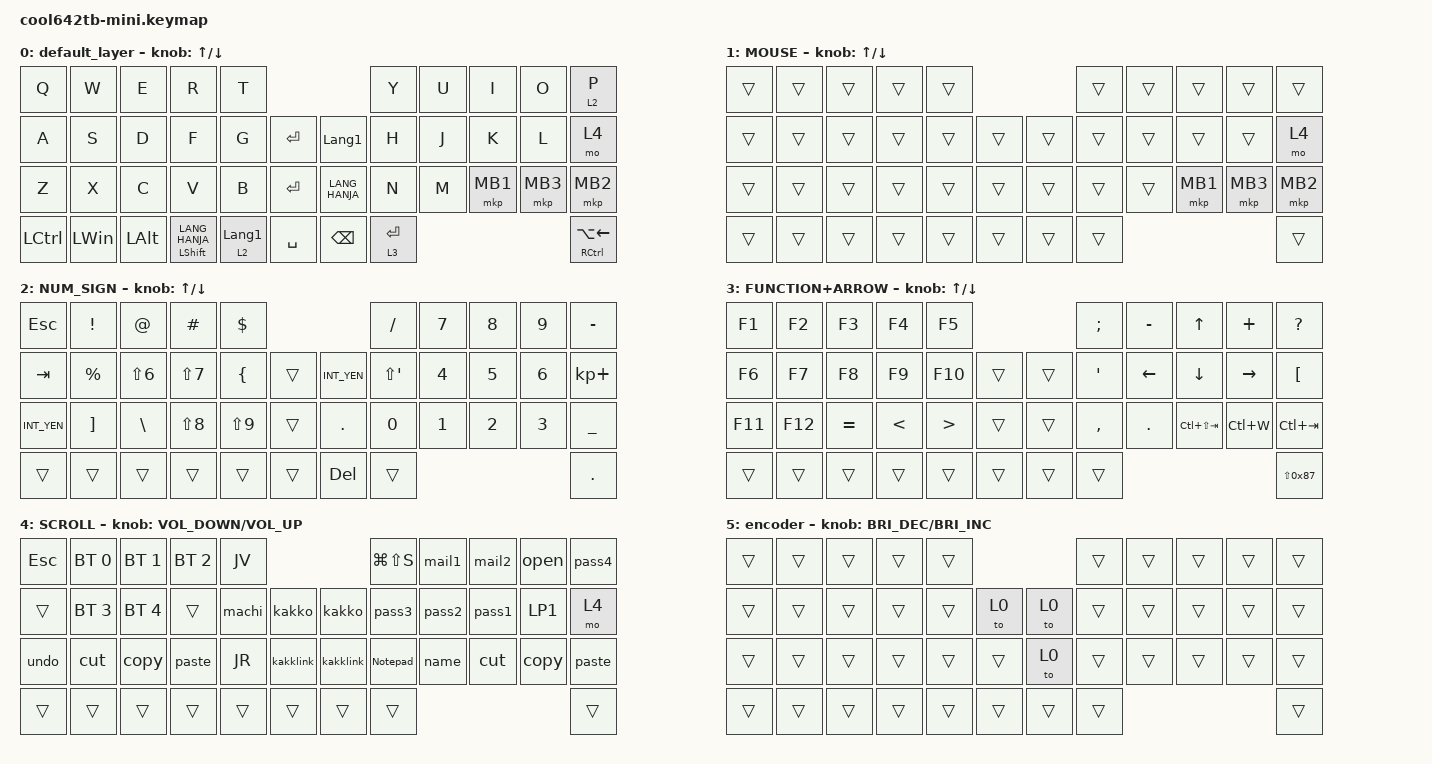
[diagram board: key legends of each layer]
#include <behaviors.dtsi>
#include <dt-bindings/zmk/bt.h>
#include <dt-bindings/zmk/keys.h>
#include <dt-bindings/zmk/pointing.h>

#define MOUSE 1
#define NUM 2
#define SCROLL 4
#define JP_DQUOTE       AT                // "
#define JP_AMPERSAND    CARET             // &
#define JP_QUOTE        AMPERSAND         // '
#define JP_EQUAL        UNDER             // =
#define JP_CARET        EQUAL             // ^
#define JP_YEN          0x89              // ¥
#define JP_PLUS         COLON             // +
#define JP_TILDE        PLUS              // ~
#define JP_PIPE         LS(0x89)          // |
#define JP_AT           LEFT_BRACKET      // @
#define JP_COLON        SINGLE_QUOTE      // :
#define JP_ASTERISK     DOUBLE_QUOTES     // *
#define JP_BACKQUOTE    LEFT_BRACE        // `
#define JP_UNDERSCORE   LS(0x87)          // _
#define JP_LBRACKET     RIGHT_BRACKET     // [
#define JP_RBRACKET     BACKSLASH         // ]
#define JP_LPAREN       ASTERISK          // (
#define JP_RPAREN       LEFT_PARENTHESIS  // )
#define JP_LBRACE       RIGHT_BRACE       // {
#define JP_RBRACE       PIPE              // }
#define JP_KANA         LANGUAGE_1        // かな
#define JP_EISU         LANGUAGE_2        // 英数
#define JP_HANZEN       GRAVE             // 半角/全角

&mt {
    flavor = "balanced";
    quick-tap-ms = <0>;
};

/ {
    combos {
        compatible = "zmk,combos";

        comb1tab {
            bindings = <&kp TAB>;
            key-positions = <11 10>;
        };

        comb2esc {
            bindings = <&kp LS(ESCAPE)>;
            key-positions = <0 1>;
        };

        comb3shift {
            bindings = <&kt LEFT_SHIFT>;
            key-positions = <22 23>;
        };

        combo4bksp {
            bindings = <&kp DELETE>;
            key-positions = <9 8>;
        };

        combo5enter {
            bindings = <&kp ENTER>;
            key-positions = <20 21>;
        };

        combo6shift {
            bindings = <&sk RIGHT_SHIFT>;
            key-positions = <32 33>;
        };

        combo7lay4 {
            bindings = <&sl 4>;
            key-positions = <40 41>;
        };

        combo8task {
            bindings = <&kp LS(LC(ESCAPE))>;
            key-positions = <0 1 34>;
        };

        combo9lay4 {
            bindings = <&sl 4>;
            key-positions = <39 38>;
        };

        taskmana {
            bindings = <&kp LS(LC(ESC))>;
            key-positions = <0 34 35>;
        };

        enc {
            bindings = <&kp BACKSPACE>;
            key-positions = <39 27>;
        };

        shiftctrl {
            bindings = <&sk LS(LEFT_CONTROL)>;
            key-positions = <34 35>;
        };

        prev {
            bindings = <&mkp MB4>;
            key-positions = <42 33>;
        };

        encoder {
            bindings = <&to 5>;
            key-positions = <28 16>;
        };

        new {
            bindings = <&kp LS(LC(N))>;
            key-positions = <30 29>;
        };
    };

    macros {
        to_layer_0: to_layer_0 {
            compatible = "zmk,behavior-macro-one-param";
            #binding-cells = <1>;
            bindings = <&to 0 &macro_param_1to1 &kp MACRO_PLACEHOLDER>;
            label = "TO_LAYER_0";
        };

        pass1: pass1 {
            compatible = "zmk,behavior-macro";
            #binding-cells = <0>;
            bindings =
                <&kp LANG_HANJA>,
                <&macro_wait_time 2>,
                <&kp LS(K) &kp O &kp B &kp A &kp T &kp A &kp K &kp U &kp N8 &kp N3 &kp ENTER>;

            label = "PASS1";
        };

        pass2: pass2 {
            compatible = "zmk,behavior-macro";
            #binding-cells = <0>;
            bindings =
                <&kp LANG_HANJA>,
                <&macro_wait_time 2>,
                <&kp J &kp R &kp E &kp D &kp N2 &kp N0 &kp N2 &kp N5 &kp ENTER>;

            label = "PASS2";
        };

        pass3: pass3 {
            compatible = "zmk,behavior-macro";
            #binding-cells = <0>;
            bindings =
                <&kp LANG_HANJA>,
                <&macro_wait_time 2>,
                <&kp J &kp R &kp E &kp D &kp N2 &kp N0 &kp N1 &kp N9 &kp ENTER>;

            label = "PASS3";
        };

        mail1: mail1 {
            compatible = "zmk,behavior-macro";
            #binding-cells = <0>;
            bindings =
                <&kp LANG_HANJA>,
                <&macro_wait_time 2>,
                <&kp T &kp A &kp K &kp MINUS &kp K &kp O &kp B &kp A &kp Y &kp A &kp S &kp H &kp H &kp I &kp JP_AT &kp J &kp R &kp E &kp D &kp DOT &kp C &kp O &kp DOT &kp J &kp P>;

            label = "MAIL1";
        };

        mail2: mail2 {
            compatible = "zmk,behavior-macro";
            #binding-cells = <0>;
            bindings =
                <&kp LANG_HANJA>,
                <&macro_wait_time 2>,
                <&kp T &kp A &kp K &kp U &kp N8 &kp N3 &kp JP_AT &kp I &kp C &kp L &kp O &kp U &kp D &kp DOT &kp C &kp O &kp M>;

            label = "MAIL2";
        };

        LP1: adress {
            compatible = "zmk,behavior-macro";
            #binding-cells = <0>;
            bindings =
                <&kp LANG_HANJA>,
                <&macro_wait_time 2>,
                <&kp LS(T) &kp LS(H) &kp LS(E) &kp SPACE &kp LS(L) &kp LS(I) &kp LS(N) &kp LS(K) &kp LS(P) &kp LS(I) &kp LS(L) &kp LS(L) &kp LS(A) &kp LS(R) &kp SPACE &kp NUMBER_1>;

            label = "ADRESS";
        };

        JV: JV {
            compatible = "zmk,behavior-macro";
            #binding-cells = <0>;
            bindings =
                <&kp LANGUAGE_1>,
                <&macro_wait_time 2>,
                <&kp LS(NUMBER_8) &kp LS(NUMBER_9) &kp ENTER &kp LANG_HANJA>,
                <&macro_wait_time 2>,
                <&kp LEFT_ARROW &kp LS(J) &kp LS(R) &kp LS(E) &kp RIGHT &kp LANG1>;

            label = "JV";
        };

        JR: JR {
            compatible = "zmk,behavior-macro";
            #binding-cells = <0>;
            bindings =
                <&kp LANGUAGE_1>,
                <&macro_wait_time 2>,
                <&kp LS(NUMBER_8) &kp LS(NUMBER_9) &kp ENTER &kp LANG_HANJA>,
                <&macro_wait_time 2>,
                <&kp LEFT_ARROW &kp LS(J) &kp LS(R) &kp RIGHT &kp LANGUAGE_1>;

            label = "JR";
        };

        machi: machi {
            compatible = "zmk,behavior-macro";
            #binding-cells = <0>;
            bindings =
                <&kp LANGUAGE_1>,
                <&macro_wait_time 2>,
                <&kp LS(NUMBER_8) &kp LS(NUMBER_9) &kp ENTER &kp LEFT_ARROW &kp M &kp A &kp C &kp H &kp I &kp S &kp E &kp N &kp N &kp SPACE &kp ENTER &kp RIGHT &kp LANGUAGE_1>;

            label = "MACHI";
        };

        pass4: pj {
            compatible = "zmk,behavior-macro";
            #binding-cells = <0>;
            bindings =
                <&kp LANG_HANJA>,
                <&macro_wait_time 2>,
                <&kp LS(K) &kp O &kp B &kp A &kp T &kp A &kp K &kp U &kp N8 &kp N3 &kp N1 &kp N9 &kp N9 &kp N1 &kp N6 &kp N7 &kp ENTER>;

            label = "PJ";
        };

        kakko: kakko {
            compatible = "zmk,behavior-macro";
            #binding-cells = <0>;
            bindings =
                <&kp LANGUAGE_1>,
                <&macro_wait_time 2>,
                <&kp K &kp A &kp K &kp K &kp O &kp SPACE &kp ENTER &kp LEFT>;

            label = "KAKKO";
        };

        undo: undo {
            compatible = "zmk,behavior-macro";
            #binding-cells = <0>;
            bindings = <&kp LANG_HANJA>, <&macro_wait_time 1>, <&kp LC(Z)>;

            label = "UNDO";
        };

        cut: cut {
            compatible = "zmk,behavior-macro";
            #binding-cells = <0>;
            bindings = <&kp LANG_HANJA>, <&macro_wait_time 1>, <&kp LC(X)>;

            label = "CUT";
        };

        copy: copy {
            compatible = "zmk,behavior-macro";
            #binding-cells = <0>;
            bindings = <&kp LANG_HANJA>, <&macro_wait_time 1>, <&kp LC(C)>;

            label = "COPY";
        };

        paste: paste {
            compatible = "zmk,behavior-macro";
            #binding-cells = <0>;
            bindings = <&kp LANG_HANJA>, <&macro_wait_time 1>, <&kp LC(V)>;

            label = "PASTE";
        };

        big: big {
            compatible = "zmk,behavior-macro";
            #binding-cells = <0>;
            bindings = <&kp LANG_HANJA>, <&macro_wait_time 1>, <&kp LC(B)>;

            label = "BIG";
        };

        Notepad: Notepad {
            compatible = "zmk,behavior-macro";
            #binding-cells = <0>;
            bindings =
                <&kp LANG_HANJA>,
                <&macro_wait_time 100>,
                <&kp LG(R)>,
                <&macro_wait_time 20>,
                <&kp N &kp O &kp T &kp E &kp P &kp A &kp D &kp ENTER>;

            label = "NOTEPAD";
        };

        open: open {
            compatible = "zmk,behavior-macro";
            #binding-cells = <0>;
            bindings =
                <&kp LANG_HANJA>,
                <&macro_wait_time 2>,
                <&kp LC(C)>,
                <&macro_wait_time 5>,
                <&kp LG(R)>,
                <&macro_wait_time 30>,
                <&kp LC(V) &kp ENTER>;

            label = "OPEN";
        };

        kakklink: kakklink {
            compatible = "zmk,behavior-macro";
            #binding-cells = <0>;
            bindings =
                <&kp LANG_HANJA>,
                <&macro_wait_time 2>,
                <&kp LESS_THAN &kp GREATER_THAN &kp LEFT_ARROW &kp LC(V) &kp RIGHT_ARROW &kp ENTER>;

            label = "KAKKLINK";
        };

        name: name {
            compatible = "zmk,behavior-macro";
            #binding-cells = <0>;
            bindings =
                <&kp LANG_HANJA>,
                <&macro_wait_time 2>,
                <&kp F2 &kp LEFT_ARROW &kp LC(V)>,
                <&macro_wait_time 5>,
                <&kp ENTER>;

            label = "NAME";
        };
    };

    behaviors {
        lt_to_layer_0: lt_to_layer_0 {
            compatible = "zmk,behavior-hold-tap";
            label = "LAYER_TAP_TO_0";
            bindings = <&mo>, <&to_layer_0>;

            #binding-cells = <2>;
            quick-tap-ms = <50>;
            require-prior-idle-ms = <(-1)>;
            tapping-term-ms = <200>;
        };

        hold_tap: hold_tap {
            compatible = "zmk,behavior-hold-tap";
            label = "HOLD_TAP";
            bindings = <&kp>, <&kp>;

            #binding-cells = <2>;
            quick-tap-ms = <50>;
            require-prior-idle-ms = <(-1)>;
            tapping-term-ms = <200>;
        };

        mouse_key_press: mouse_key_press {
            compatible = "zmk,behavior-mouse-key-press";
            label = "MOUSE_KEY_PRESS";
            #binding-cells = <1>;
        };

        axis: axis {
            compatible = "zmk,behavior-input-two-axis";
            label = "AXIS";
            #binding-cells = <1>;
            x-input-code = <5>;
            y-input-code = <5>;
            time-to-max-speed-ms = <0>;
        };

        encoder_msc_down_up: encoder_msc_down_up {
            compatible = "zmk,behavior-sensor-rotate";
            label = "ENCODER_MSC_DOWN_UP";
            #sensor-binding-cells = <0>;
            bindings = <&msc SCRL_DOWN>, <&msc SCRL_UP>;

            tap-ms = <20>;
        };

        mouse_scrl: mouse_wheel_scrl {
            compatible = "zmk,behavior-sensor-rotate-var";
            #sensor-binding-cells = <2>;
            bindings = <&msc>, <&msc>;

            tap-ms = <10>;
        };
    };

    keymap {
        compatible = "zmk,keymap";

        default_layer {
            bindings = <
&kp Q             &kp W         &kp E         &kp R                            &kp T                                                       &kp Y                   &kp U  &kp I     &kp O     &lt 2 P
&kp A             &kp S         &kp D         &kp F                            &kp G                        &kp ENTER      &kp LANGUAGE_1  &kp H                   &kp J  &kp K     &kp L     &mo 4
&kp Z             &kp X         &kp C         &kp V                            &kp B                        &kp ENTER      &kp LANG_HANJA  &kp N                   &kp M  &mkp MB1  &mkp MB3  &mkp MB2
&kp LEFT_CONTROL  &kp LEFT_WIN  &kp LEFT_ALT  &hold_tap LEFT_SHIFT LANG_HANJA  &lt_to_layer_0 2 LANGUAGE_1  &kp SPACE      &kp BACKSPACE   &lt_to_layer_0 3 ENTER                             &hold_tap RIGHT_CONTROL LA(LEFT_ARROW)
            >;

            sensor-bindings = <&inc_dec_kp UP_ARROW DOWN_ARROW>;
        };

        MOUSE {
            bindings = <
&trans  &trans  &trans  &trans  &trans                      &trans  &trans  &trans    &trans    &trans
&trans  &trans  &trans  &trans  &trans  &trans      &trans  &trans  &trans  &trans    &trans    &mo 4
&trans  &trans  &trans  &trans  &trans  &trans      &trans  &trans  &trans  &mkp MB1  &mkp MB3  &mkp MB2
&trans  &trans  &trans  &trans  &trans  &trans      &trans  &trans                              &trans
            >;

            sensor-bindings = <&inc_dec_kp UP_ARROW DOWN_ARROW>;
        };

        NUM_SIGN {
            bindings = <
&kp ESCAPE   &kp EXCLAMATION    &kp AT_SIGN       &kp HASH          &kp DOLLAR                                 &kp SLASH             &kp N7        &kp N8        &kp N9        &kp MINUS
&kp TAB      &kp PERCENT        &kp LS(NUMBER_6)  &kp LS(NUMBER_7)  &kp JP_BACKQUOTE  &trans      &kp INT_YEN  &kp LS(SINGLE_QUOTE)  &kp NUMBER_4  &kp NUMBER_5  &kp NUMBER_6  &kp KP_PLUS
&kp INT_YEN  &kp RIGHT_BRACKET  &kp JP_RBRACKET   &kp LS(NUMBER_8)  &kp LS(NUMBER_9)  &trans      &kp DOT      &kp NUMBER_0          &kp NUMBER_1  &kp NUMBER_2  &kp NUMBER_3  &kp UNDER
&trans       &trans             &trans            &trans            &trans            &trans      &kp DEL      &trans                                                          &kp PERIOD
            >;

            sensor-bindings = <&inc_dec_kp UP_ARROW DOWN_ARROW>;
        };

        FUNCTION+ARROW {
            bindings = <
&kp F1   &kp F2   &kp F3     &kp F4         &kp F5                                &kp SEMICOLON     &kp MINUS   &kp UP           &kp JP_TILDE  &kp QUESTION
&kp F6   &kp F7   &kp F8     &kp F9         &kp F10           &trans      &trans  &kp SINGLE_QUOTE  &kp LEFT    &kp DOWN         &kp RIGHT     &kp JP_AT
&kp F11  &kp F12  &kp EQUAL  &kp LESS_THAN  &kp GREATER_THAN  &trans      &trans  &kp COMMA         &kp PERIOD  &kp LC(LS(TAB))  &kp LC(W)     &kp LC(TAB)
&trans   &trans   &trans     &trans         &trans            &trans      &trans  &trans                                                       &kp JP_UNDERSCORE
            >;

            sensor-bindings = <&inc_dec_kp UP_ARROW DOWN>;
        };

        SCROLL {
            bindings = <
&kp ESC  &bt BT_SEL 0  &bt BT_SEL 1  &bt BT_SEL 2  &JV                               &kp LG(LS(S))  &mail1  &mail2  &open  &pass4
&trans   &bt BT_SEL 3  &bt BT_SEL 4  &trans        &machi  &kakko         &kakko     &pass3         &pass2  &pass1  &LP1   &mo 4
&undo    &cut          &copy         &paste        &JR     &kakklink      &kakklink  &Notepad       &name   &cut    &copy  &paste
&trans   &trans        &trans        &trans        &trans  &trans         &trans     &trans                                &trans
            >;

            sensor-bindings = <&inc_dec_kp C_VOLUME_DOWN C_VOLUME_UP>;
        };

        encoder {
            bindings = <
&trans  &trans  &trans  &trans  &trans                      &trans  &trans  &trans  &trans  &trans
&trans  &trans  &trans  &trans  &trans  &to 0       &to 0   &trans  &trans  &trans  &trans  &trans
&trans  &trans  &trans  &trans  &trans  &trans      &to 0   &trans  &trans  &trans  &trans  &trans
&trans  &trans  &trans  &trans  &trans  &trans      &trans  &trans                          &trans
            >;

            sensor-bindings = <&inc_dec_kp C_BRIGHTNESS_DEC C_BRIGHTNESS_INC>;
        };
    };
};
